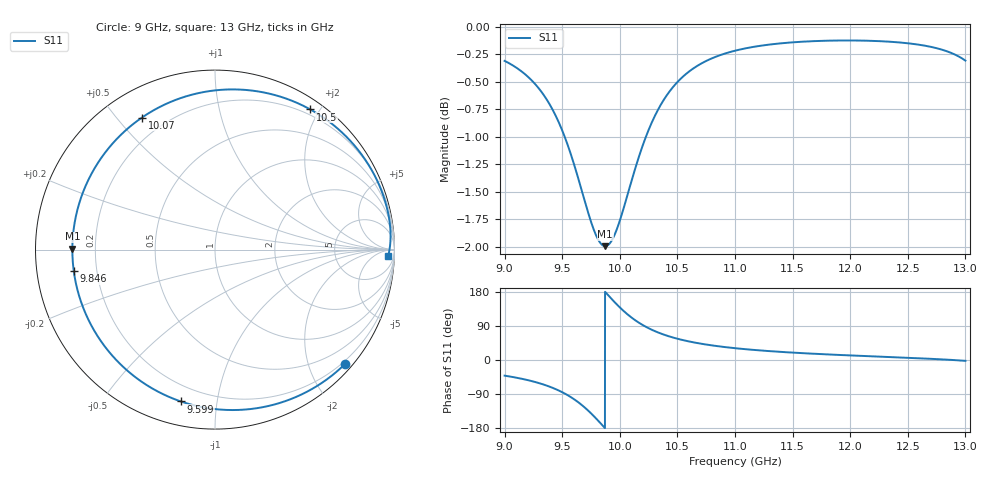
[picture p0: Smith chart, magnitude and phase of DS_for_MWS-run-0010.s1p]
! TOUCHSTONE file generated by CST DESIGN STUDIO
! Date and time: Tue Feb  4 16:08:49 2025
! Project name: C:\Work\MatlabApps\UnitCellOptimizationMatlab\CST\unitcell.cst
! Tree item: Tasks\Sweep1\SPara1\S-Parameters
! Header version: 2024
! Port assignment regex: !\s*Touchstone port\s*([0-9]+)\s*=\s*(CST MWS port|CST DES external port|CST DES block port)\s*(.+)\s* \(\"(.*)\"\)(\s*mode\s*([0-9]+))?.*
! Touchstone port assignment:
! Touchstone port 1 = CST DES external port 1 ("")
# GHz S MA R 50
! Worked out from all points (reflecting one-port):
!   4001 points, 9 GHz to 13 GHz, reference 50 ohm
!   lowest |S11| = -2.0 dB at 9.873 GHz (marker M1), VSWR 8.75, Z = 5.72 + j0.16 ohm
!   phase of S11 starts at -41 deg and turns -321 deg over the sweep
!   S11 on the Smith chart (normalised r, x): 9 GHz: 0.14, -2.65; 9.599 GHz: 0.12, -0.79; 9.846 GHz: 0.11, -0.07; 10.07 GHz: 0.12, +0.58; 10.5 GHz: 0.13, +1.88; 13 GHz: 25, -28
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9  0.9649 -41.3
9.146  0.9545 -49.3
9.279  0.94 -59.2
9.394  0.9214 -70.7
9.5  0.8972 -85.0
9.552  0.8823 -93.7
9.599  0.8672 -102.7
9.661  0.8456 -116.6
9.719  0.8253 -131.7
9.787  0.8055 -152.0
9.846  0.7959 -171.3
9.873  0.7948 179.6
9.933  0.8 159.7
10  0.8163 138.8
10.036  0.8279 128.6
10.073  0.8408 118.9
10.148  0.8669 101.9
10.235  0.8936 86.2
10.361  0.9226 69.3
10.5  0.9438 56.1
10.504  0.9442 55.8
10.605  0.9546 48.7
10.719  0.963 42.3
11  0.9753 31.2
11.5  0.9838 19.5
12  0.9858 12.1
12.5  0.9829 5.8
13  0.9652 -2.2
